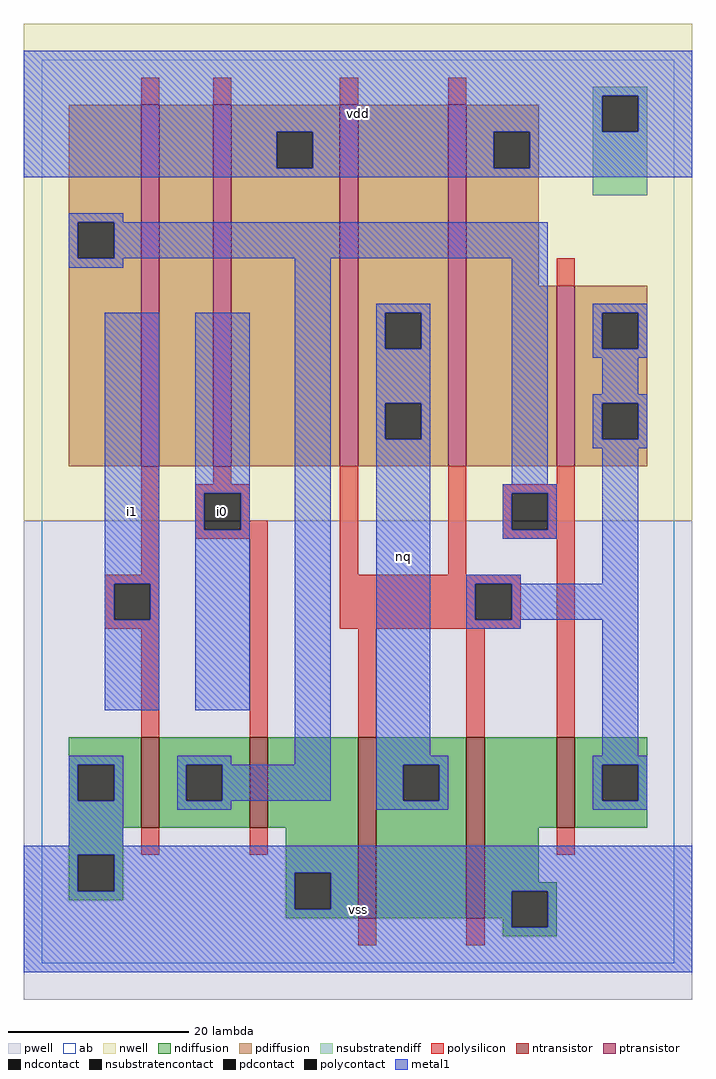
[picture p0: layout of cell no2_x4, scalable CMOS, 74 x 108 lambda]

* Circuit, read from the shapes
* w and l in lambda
.subckt no2_x4 i0 i1 nq vdd vss
M1 n1 i1 vss VSUBS nfet w=10 l=2
M2 vss i0 n1 VSUBS nfet w=10 l=2
M3 nq n2 vss VSUBS nfet w=20 l=2 m=2
M4 n2 n1 vss VSUBS nfet w=10 l=2
M5 n3 i1 n1 vdd pfet w=40 l=2
M6 vdd i0 n3 vdd pfet w=40 l=2
M7 nq n2 vdd vdd pfet w=40 l=2 m=2
M8 n2 n1 vdd vdd pfet w=20 l=2
.ends

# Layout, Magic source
magic
tech scmos
<< ab >>
rect 0 0 70 100
<< pwell >>
rect -2 -4 72 49
<< nwell >>
rect -2 49 72 104
<< polysilicon >>
rect 11 95 13 98
rect 19 95 21 98
rect 33 95 35 98
rect 45 95 47 98
rect 57 75 59 78
rect 11 43 13 55
rect 19 53 21 55
rect 17 52 23 53
rect 17 48 18 52
rect 22 49 23 52
rect 22 48 25 49
rect 17 47 25 48
rect 7 42 13 43
rect 7 38 8 42
rect 12 38 13 42
rect 7 37 13 38
rect 11 25 13 37
rect 23 25 25 47
rect 33 43 35 55
rect 45 43 47 55
rect 57 53 59 55
rect 51 52 59 53
rect 51 48 52 52
rect 56 48 59 52
rect 51 47 59 48
rect 33 42 53 43
rect 33 38 48 42
rect 52 38 53 42
rect 33 37 53 38
rect 35 25 37 37
rect 47 25 49 37
rect 57 25 59 47
rect 11 12 13 15
rect 23 12 25 15
rect 57 12 59 15
rect 35 2 37 5
rect 47 2 49 5
<< ndiffusion >>
rect 3 22 11 25
rect 3 18 4 22
rect 8 18 11 22
rect 3 15 11 18
rect 13 22 23 25
rect 13 18 16 22
rect 20 18 23 22
rect 13 15 23 18
rect 25 15 35 25
rect 3 12 9 15
rect 3 8 4 12
rect 8 8 9 12
rect 3 7 9 8
rect 27 10 35 15
rect 27 6 28 10
rect 32 6 35 10
rect 27 5 35 6
rect 37 22 47 25
rect 37 18 40 22
rect 44 18 47 22
rect 37 5 47 18
rect 49 15 57 25
rect 59 22 67 25
rect 59 18 62 22
rect 66 18 67 22
rect 59 15 67 18
rect 49 9 55 15
rect 49 8 57 9
rect 49 5 52 8
rect 51 4 52 5
rect 56 4 57 8
rect 51 3 57 4
<< pdiffusion >>
rect 3 82 11 95
rect 3 78 4 82
rect 8 78 11 82
rect 3 55 11 78
rect 13 55 19 95
rect 21 92 33 95
rect 21 88 26 92
rect 30 88 33 92
rect 21 55 33 88
rect 35 72 45 95
rect 35 68 38 72
rect 42 68 45 72
rect 35 62 45 68
rect 35 58 38 62
rect 42 58 45 62
rect 35 55 45 58
rect 47 92 55 95
rect 47 88 50 92
rect 54 88 55 92
rect 47 75 55 88
rect 47 55 57 75
rect 59 72 67 75
rect 59 68 62 72
rect 66 68 67 72
rect 59 62 67 68
rect 59 58 62 62
rect 66 58 67 62
rect 59 55 67 58
<< metal1 >>
rect -2 96 72 101
rect -2 92 62 96
rect 66 92 72 96
rect -2 88 26 92
rect 30 88 50 92
rect 54 88 72 92
rect -2 87 72 88
rect 3 82 9 83
rect 3 78 4 82
rect 8 78 56 82
rect 3 77 9 78
rect 7 42 13 72
rect 7 38 8 42
rect 12 38 13 42
rect 7 28 13 38
rect 17 52 23 72
rect 17 48 18 52
rect 22 48 23 52
rect 17 28 23 48
rect 3 22 9 23
rect 3 18 4 22
rect 8 18 9 22
rect 3 13 9 18
rect 15 22 21 23
rect 28 22 32 78
rect 15 18 16 22
rect 20 18 32 22
rect 37 72 43 73
rect 37 68 38 72
rect 42 68 43 72
rect 37 62 43 68
rect 37 58 38 62
rect 42 58 43 62
rect 37 23 43 58
rect 52 53 56 78
rect 61 72 67 73
rect 61 68 62 72
rect 66 68 67 72
rect 61 67 67 68
rect 62 63 66 67
rect 61 62 67 63
rect 61 58 62 62
rect 66 58 67 62
rect 61 57 67 58
rect 51 52 57 53
rect 51 48 52 52
rect 56 48 57 52
rect 51 47 57 48
rect 47 42 53 43
rect 62 42 66 57
rect 47 38 48 42
rect 52 38 66 42
rect 47 37 53 38
rect 62 23 66 38
rect 37 22 45 23
rect 37 18 40 22
rect 44 18 45 22
rect 15 17 21 18
rect 37 17 45 18
rect 61 22 67 23
rect 61 18 62 22
rect 66 18 67 22
rect 61 17 67 18
rect -2 12 72 13
rect -2 8 4 12
rect 8 10 72 12
rect 8 8 28 10
rect -2 6 28 8
rect 32 8 72 10
rect 32 6 52 8
rect -2 4 52 6
rect 56 4 72 8
rect -2 -1 72 4
<< ntransistor >>
rect 11 15 13 25
rect 23 15 25 25
rect 35 5 37 25
rect 47 5 49 25
rect 57 15 59 25
<< ptransistor >>
rect 11 55 13 95
rect 19 55 21 95
rect 33 55 35 95
rect 45 55 47 95
rect 57 55 59 75
<< polycontact >>
rect 18 48 22 52
rect 8 38 12 42
rect 52 48 56 52
rect 48 38 52 42
<< ndcontact >>
rect 4 18 8 22
rect 16 18 20 22
rect 4 8 8 12
rect 28 6 32 10
rect 40 18 44 22
rect 62 18 66 22
rect 52 4 56 8
<< pdcontact >>
rect 4 78 8 82
rect 26 88 30 92
rect 38 68 42 72
rect 38 58 42 62
rect 50 88 54 92
rect 62 68 66 72
rect 62 58 66 62
<< nsubstratencontact >>
rect 62 92 66 96
<< nsubstratendiff >>
rect 61 96 67 97
rect 61 92 62 96
rect 66 92 67 96
rect 61 85 67 92
<< labels >>
rlabel metal1 10 50 10 50 6 i1
rlabel metal1 10 50 10 50 6 i1
rlabel polycontact 20 50 20 50 6 i0
rlabel polycontact 20 50 20 50 6 i0
rlabel metal1 35 6 35 6 6 vss
rlabel metal1 35 6 35 6 6 vss
rlabel metal1 40 45 40 45 6 nq
rlabel metal1 40 45 40 45 6 nq
rlabel metal1 35 94 35 94 6 vdd
rlabel metal1 35 94 35 94 6 vdd
<< end >>
